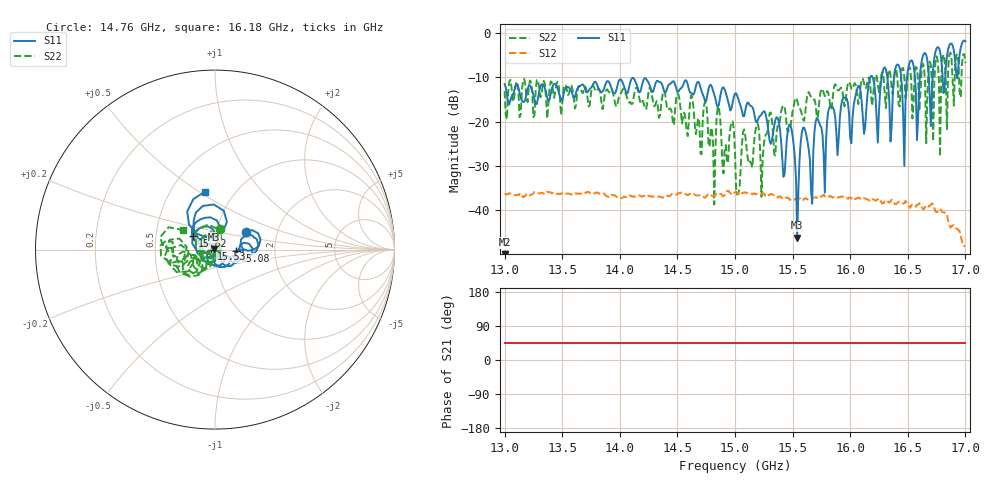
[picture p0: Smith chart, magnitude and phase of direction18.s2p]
!Keysight Technologies,P9374A,MY57211810,A.19.30.04
!Date: Friday, May 02, 2025 09:02:08
!Correction: S11(Off)
!S21(Off)
!S12(Off)
!S22(Off)
!S2P File: Measurements: S11, S21, S12, S22:
# Hz S  dB  R 50
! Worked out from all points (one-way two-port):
!   401 points, 13 GHz to 17 GHz, reference 50 ohm
!   highest |S21| = - dB at 13 GHz (marker M1); lowest = - dB at 13 GHz (marker M2)
!   lowest |S11| = -46.2 dB at 15.54 GHz (marker M3), VSWR 1.01, Z = 49.6 + j0.332 ohm
!   |S11| at or under -10 dB: start of sweep to 16.17 GHz; 16.19419 GHz to 16.27343 GHz (79.23 MHz wide, 0.488 % of centre); 16.32209 GHz to 16.38019 GHz (58.09 MHz wide, 0.355 % of centre) (the widest 3 of 8)
!   |S22| runs from -38.7 to -4.4 dB; largest |S21 - S12| = 0.017
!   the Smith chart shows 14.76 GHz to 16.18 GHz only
!   S11 on the Smith chart (normalised r, x): 14.76 GHz: 1.38, +0.29; 15.08 GHz: 1.26, -0.02; 15.53 GHz: 0.96, +0.00; 15.82 GHz: 0.77, +0.12; 16.18 GHz: 0.73, +0.53
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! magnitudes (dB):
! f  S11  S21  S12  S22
! 13 GHz  -11.5  -  -36.3  -13.1
! 13.67 GHz  -11.7  -  -36.3  -13.3
! 14.34 GHz  -11.0  -  -36.8  -19.1
! 14.76 GHz  -14.0  -  -36.5  -18.6
! 15 GHz  -13.6  -  -35.9  -26.9
! 15.03 GHz  -15.0  -  -36.3  -36.1
! 15.08 GHz  -18.7  -  -36.0  -21.8
! 15.24 GHz  -17.9  -  -36.2  -28.5
! 15.42 GHz  -32.4  -  -37.3  -16.4
! 15.48 GHz  -20.8  -  -37.6  -21.3
! 15.53 GHz  -33.2  -  -37.3  -14.6
! 15.54 GHz  -46.2  -  -37.3  -15.3
! 15.6 GHz  -21.3  -  -37.4  -19.8
! 15.67 GHz  -38.5  -  -37.3  -14.9
! 15.82 GHz  -16.8  -  -36.8  -15.1
! 16.12 GHz  -22.7  -  -37.3  -11.3
! 16.18 GHz  -9.7  -  -37.5  -13.6
! 16.34 GHz  -15.7  -  -38.3  -8.3
! 16.41 GHz  -7.1  -  -38.3  -10.2
! 16.47 GHz  -30.0  -  -38.4  -9.9
! 16.52 GHz  -6.4  -  -39.5  -7.9
! 17 GHz  -1.9  -  -48.1  -6.8
